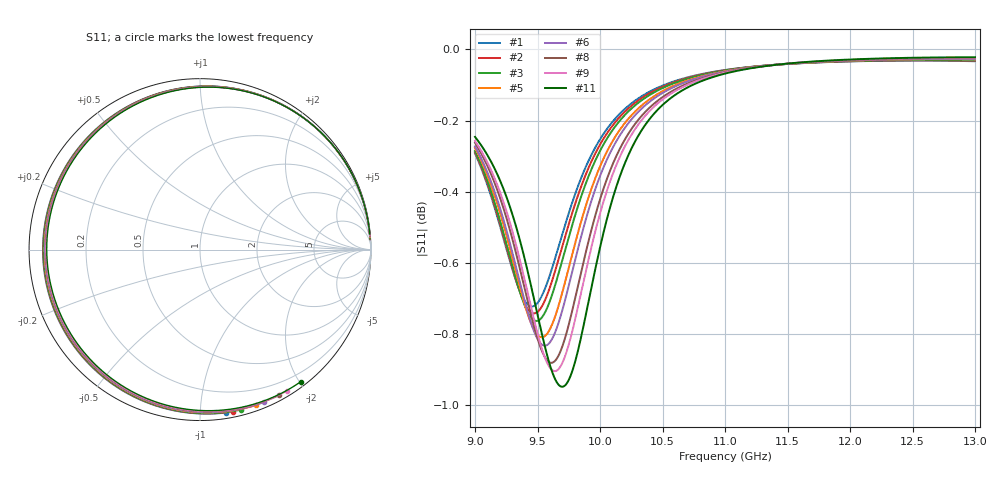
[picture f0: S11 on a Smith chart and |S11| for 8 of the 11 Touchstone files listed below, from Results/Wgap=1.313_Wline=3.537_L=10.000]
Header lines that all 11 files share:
! TOUCHSTONE file generated by CST DESIGN STUDIO
! Project name: C:\Work\MatlabApps\UnitCellOptimizationMatlab\CST\unitcell.cst
! Tree item: Tasks\Sweep1\SPara1\S-Parameters
! Header version: 2024
! Port assignment regex: !\s*Touchstone port\s*([0-9]+)\s*=\s*(CST MWS port|CST DES external port|CST DES block port)\s*(.+)\s* \(\"(.*)\"\)(\s*mode\s*([0-9]+))?.*
! Touchstone port assignment:
! Touchstone port 1 = CST DES external port 1 ("")
# GHz S MA R 50
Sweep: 9 GHz to 13 GHz
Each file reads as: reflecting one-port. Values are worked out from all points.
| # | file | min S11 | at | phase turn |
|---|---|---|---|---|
| 1 | DS_for_MWS-run-0001.s1p | -0.7 dB | 9.455 GHz | -276 deg |
| 2 | DS_for_MWS-run-0002.s1p | -0.7 dB | 9.472 GHz | -278 deg |
| 3 | DS_for_MWS-run-0003.s1p | -0.8 dB | 9.491 GHz | -281 deg |
| 4 | DS_for_MWS-run-0004.s1p | -0.8 dB | 9.512 GHz | -283 deg |
| 5 | DS_for_MWS-run-0005.s1p | -0.8 dB | 9.535 GHz | -286 deg |
| 6 | DS_for_MWS-run-0006.s1p | -0.8 dB | 9.558 GHz | -288 deg |
| 7 | DS_for_MWS-run-0007.s1p | -0.9 dB | 9.584 GHz | -291 deg |
| 8 | DS_for_MWS-run-0008.s1p | -0.9 dB | 9.61 GHz | -294 deg |
| 9 | DS_for_MWS-run-0009.s1p | -0.9 dB | 9.638 GHz | -297 deg |
| 10 | DS_for_MWS-run-0010.s1p | -0.9 dB | 9.667 GHz | -299 deg |
| 11 | DS_for_MWS-run-0011.s1p | -0.9 dB | 9.697 GHz | -302 deg |
